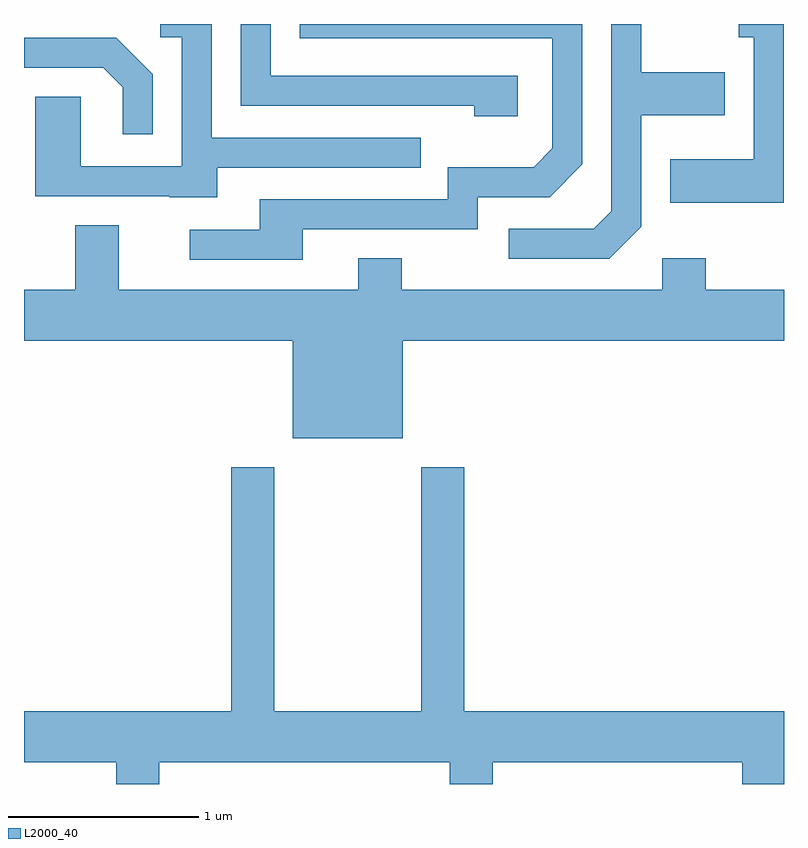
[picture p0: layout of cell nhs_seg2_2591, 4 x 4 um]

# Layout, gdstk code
import gdstk
lib = gdstk.Library(unit=1e-6, precision=1e-09)
def P(c, l, *ps):  # polygons
    for p in ps: c.add(gdstk.Polygon(p, *l))
L2000_40 = (2000, 40)

nhs_seg2_2591 = lib.new_cell('nhs_seg2_2591')
P(nhs_seg2_2591, L2000_40, [(263.079,1006.721),(263.999,1006.721),(263.999,1006.891),(264.377,1006.891),(264.549,1007.064),(264.549,1007.802),(263.061,1007.802),(263.061,1007.726),(264.391,1007.726),(264.391,1007.147),(264.294,1007.049),(263.841,1007.049),(263.841,1006.879),(262.851,1006.879),(262.851,1006.719),(262.483,1006.719),(262.483,1006.561),(263.079,1006.561)],
  [(262.629,1007.046),(263.698,1007.046),(263.698,1007.204),(262.599,1007.204),(262.599,1007.802),(262.328,1007.802),(262.328,1007.731),(262.441,1007.731),(262.441,1007.054),(261.909,1007.054),(261.909,1007.419),(261.671,1007.419),(261.671,1006.896),(262.375,1006.896),(262.375,1006.891),(262.629,1006.891)],
  [(264.209,1007.529),(262.909,1007.529),(262.909,1007.802),(262.751,1007.802),(262.751,1007.371),(263.981,1007.371),(263.981,1007.316),(264.209,1007.316)],
  [(265.609,1007.802),(265.373,1007.802),(265.373,1007.731),(265.451,1007.731),(265.451,1007.089),(265.011,1007.089),(265.011,1006.861),(265.609,1006.861)],
  [(264.859,1006.734),(264.859,1007.321),(265.299,1007.321),(265.299,1007.549),(264.859,1007.549),(264.859,1007.802),(264.701,1007.802),(264.701,1006.817),(264.609,1006.724),(264.163,1006.724),(264.163,1006.566),(264.692,1006.566)],
  [(262.289,1007.537),(262.097,1007.729),(261.611,1007.729),(261.611,1007.571),(262.029,1007.571),(262.131,1007.469),(262.131,1007.223),(262.289,1007.223)],
  [(265.611,1006.404),(265.199,1006.404),(265.199,1006.569),(264.971,1006.569),(264.971,1006.404),(263.599,1006.404),(263.599,1006.569),(263.371,1006.569),(263.371,1006.404),(262.109,1006.404),(262.109,1006.744),(261.881,1006.744),(261.881,1006.404),(261.611,1006.404),(261.611,1006.136),(263.026,1006.136),(263.026,1005.621),(263.604,1005.621),(263.604,1006.136),(265.611,1006.136)],
  [(262.324,1003.916),(263.851,1003.916),(263.851,1003.802),(264.079,1003.802),(264.079,1003.916),(265.391,1003.916),(265.391,1003.802),(265.611,1003.802),(265.611,1004.184),(263.929,1004.184),(263.929,1005.469),(263.701,1005.469),(263.701,1004.184),(262.929,1004.184),(262.929,1005.469),(262.701,1005.469),(262.701,1004.184),(261.611,1004.184),(261.611,1003.916),(262.096,1003.916),(262.096,1003.802),(262.324,1003.802)])

lib.write_gds('nhs_seg2_2591.gds')
